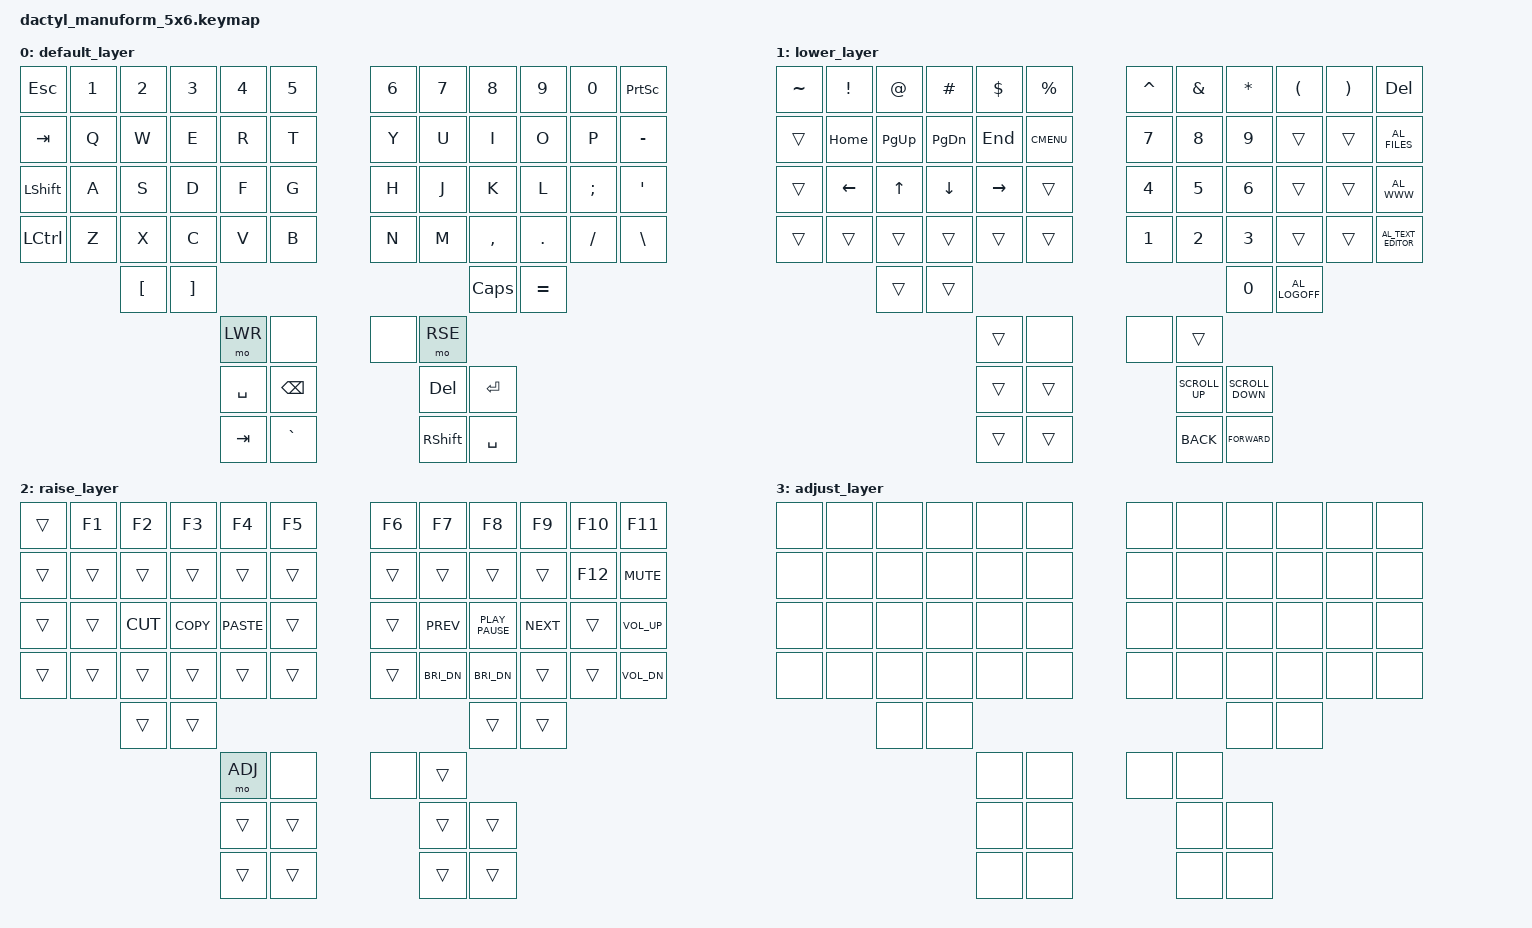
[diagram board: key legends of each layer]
#include <behaviors.dtsi>
#include <dt-bindings/zmk/keys.h>
#include <dt-bindings/zmk/bt.h>
#include <dt-bindings/zmk/outputs.h>

#define DEFAULT 0
#define LWR 1
#define RSE 2
#define ADJ 3

/ {
    keymap {
        compatible = "zmk,keymap";

        default_layer {
            bindings = <
                &kp ESC   &kp N1 &kp N2 &kp N3 &kp N4 &kp N5              &kp N6 &kp N7 &kp N8    &kp N9  &kp N0   &kp PSCRN
                &kp TAB   &kp Q  &kp W  &kp E  &kp R  &kp T               &kp Y  &kp U  &kp I     &kp O   &kp P    &kp MINUS
                &kp LSHFT &kp A  &kp S  &kp D  &kp F  &kp G               &kp H  &kp J  &kp K     &kp L   &kp SEMI &kp SQT
                &kp LCTRL &kp Z  &kp X  &kp C  &kp V  &kp B               &kp N  &kp M  &kp COMMA &kp DOT &kp FSLH &kp BSLH
                                 &kp LBKT &kp RBKT                                           &kp CAPS &kp EQUAL
                                            &mo LWR  &none                &none    &mo RSE
                                            &kp SPACE  &kp BSPC             &kp DEL  &kp RET
                                            &kp TAB    &kp GRAVE            &kp RSHIFT &kp SPACE
            >;
        };

        lower_layer {
            bindings = <
                &kp TILDE &kp EXCL &kp AT &kp HASH &kp DOLLAR &kp PRCNT          &kp CARET &kp AMPS  &kp ASTRK &kp LPAR &kp RPAR &kp DEL
                &trans  &kp HOME &kp PG_UP &kp PG_DN &kp END &kp K_CMENU         &kp N7 &kp N8  &kp N9  &trans &trans  &kp C_AL_FILES
                &trans  &kp LEFT &kp UP &kp DOWN &kp RIGHT &trans                &kp N4 &kp N5 &kp N6 &trans &trans &kp C_AL_WWW
                &trans  &trans &trans &trans &trans &trans                	&kp N1 &kp N2 &kp N3 &trans &trans &kp C_AL_TEXT_EDITOR
                               &trans &trans                                              &kp N0 &kp C_AL_LOGOFF
                                             &trans &none                 &none &trans
                                             &trans &trans                &kp K_SCROLL_UP &kp K_SCROLL_DOWN
                                             &trans &trans                &kp K_BACK &kp K_FORWARD
            >;
        };

        raise_layer {
            bindings = <
                &trans  &kp F1 &kp F2 &kp F3 &kp F4 &kp F5                &kp F6 &kp F7 &kp F8 &kp F9 &kp F10 & F11
                &trans  &trans &trans &trans &trans &trans                &trans &trans &trans &trans &kp F12 &kp K_MUTE
                &trans  &trans &kp K_CUT &kp K_COPY &kp K_PASTE &trans    &trans &kp K_PREV &kp K_PLAY_PAUSE &kp K_NEXT &trans &kp K_VOL_UP
                &trans  &trans &trans &trans &trans &trans                &trans &kp C_BRI_DN &kp C_BRI_DN &trans &trans &kp K_VOL_DN
                               &trans &trans                                            &trans &trans
                                             &mo ADJ &none                &none &trans
                                             &trans  &trans               &trans &trans
                                             &trans  &trans               &trans &trans
            >;
        };

        adjust_layer {
            bindings = <
                &none &none &none &none &none &none            	&none &none &none &none &none &none
                &none &none &none &none &none &none            	&none &none &none &none &none &none
                &none &none &none &none &none &none             &none &none &none &none &none &none
                &none &none &none &none &none &none      	&none &none &none &none &none &none
                            &none &none                                     &none &none
                                         &none &none             &none &none
                                         &none &none             &none &none
                                         &none &none             &none &none
            >;
        };
    };
};
